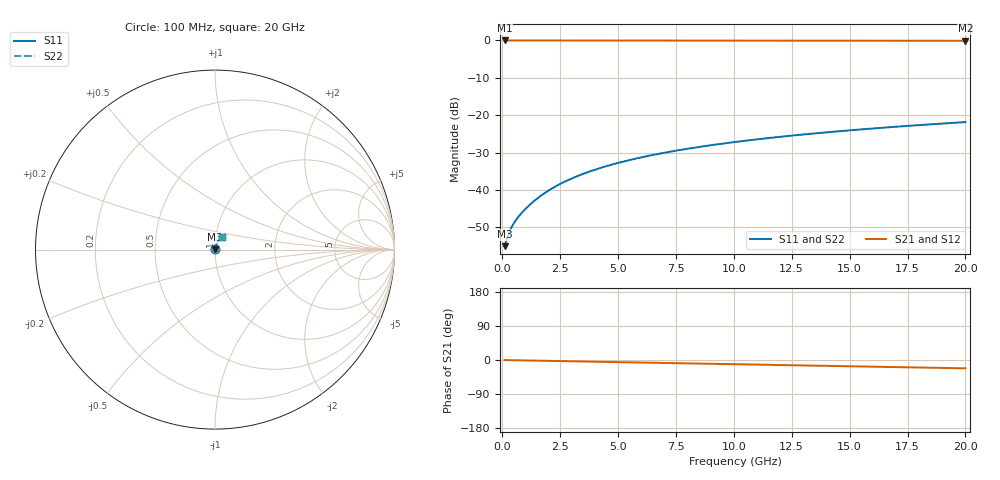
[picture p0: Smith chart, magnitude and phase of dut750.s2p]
! Touchstone file exported from HFSS 2026.1.0
!  File:  C:/ffzhzh/LocalFiles/Ansys_Project_Files/temp_train_TMRDL_750_1783155264_22436.aedt
!  Generated:  04:55:35 PM Jul  4, 2026
!  Design:  TMRDL
!  Project:  temp_train_TMRDL_750_1783155264_22436
! Variables:
!  h_bsmrdl = 2um
!  h_ox = 20um
!  h_rdl = 5um
!  h_sub = 80um
!  h_tmrdl = 3.3um
!  h_tsv = 80um
!  h_via = 3um
!  l_bsmrdl = 300um
!  l_sub = 762.08um
!  l_tmrdl = 362.08um
!  m_sub = 200um
!  pitch = 38.15um
!  r_tsv = 6um
!  s_tmrdl = 10um
!  w_bsmrdl = 18um
!  w_sub = 500um
!  w_tmrdl = 29.83um
!  x_tsv_center1 = 376.995um
!  x_tsv_center2 = 694.995um
!  x_tsv_center3 = 1086.905um
!  x_tsv_center4 = 1404.905um
!  x_tsv_center5 = 1796.815um
!  x_tsv_center6 = 2114.815um
# GHz S MA R 50.000000
! Terminal data exported
! Port[1] = TM_RDL1_1_T1
! Port[2] = TM_RDL1_1_T2
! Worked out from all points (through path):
!   200 points, 100 MHz to 20 GHz, reference 50 ohm
!   highest |S21| = -0.01 dB at 100 MHz (marker M1); lowest = -0.1 dB at 20 GHz (marker M2)
!   group delay of S21, straight-line fit = 3.04 ps
!   lowest |S11| = -55.0 dB at 100 MHz (marker M3), VSWR 1.00, Z = 50.2 + j0.0729 ohm
!   |S11| at or under -10 dB: start of sweep to end of sweep
!   |S22| runs from -55.0 to -21.8 dB; largest |S21 - S12| = 2.8e-15
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0.1  0.001776 24.2  0.9984 -0.1  0.9984 -0.1  0.001776 24.2
! Gamma 0 0 0 0
! Port Impedance 50 0 50 0
0.2  0.002252 37.2  0.9982 -0.3  0.9982 -0.3  0.002252 37.2
0.3  0.002742 43.8  0.998 -0.4  0.998 -0.4  0.002742 43.8
0.4  0.00319 47.8  0.9979 -0.5  0.9979 -0.5  0.00319 47.9
0.5  0.003605 51.0  0.9978 -0.6  0.9978 -0.6  0.003605 51.0
0.6  0.004002 53.8  0.9977 -0.7  0.9977 -0.7  0.004003 53.8
0.8  0.004789 58.4  0.9976 -0.9  0.9976 -0.9  0.004789 58.4
1.2  0.006412 64.9  0.9974 -1.4  0.9974 -1.4  0.006412 64.9
1.7  0.008541 69.6  0.9973 -1.9  0.9973 -1.9  0.008542 69.6
2.2  0.01073 72.2  0.9971 -2.5  0.9971 -2.5  0.01073 72.2
2.8  0.01338 73.9  0.9969 -3.2  0.9969 -3.2  0.01339 73.9
3.5  0.01648 74.8  0.9966 -3.9  0.9966 -3.9  0.01648 74.7
4.2  0.01956 75.0  0.9963 -4.7  0.9963 -4.7  0.01956 75.0
5  0.02304 74.9  0.9959 -5.6  0.9959 -5.6  0.02304 74.9
5.9  0.02689 74.5  0.9955 -6.6  0.9955 -6.6  0.02689 74.4
6.8  0.03067 73.9  0.995 -7.6  0.995 -7.6  0.03067 73.8
8.3  0.03684 72.7  0.9941 -9.3  0.9941 -9.3  0.03684 72.7
10.1  0.04403 71.1  0.9932 -11.2  0.9932 -11.2  0.04404 71.1
11.7  0.05027 69.7  0.9923 -13.0  0.9923 -13.0  0.05028 69.7
13.4  0.05677 68.1  0.9914 -14.8  0.9914 -14.8  0.05678 68.1
16.7  0.06904 65.1  0.9897 -18.4  0.9897 -18.4  0.06905 65.0
20  0.08089 62.0  0.988 -22.0  0.988 -22.0  0.0809 61.9
